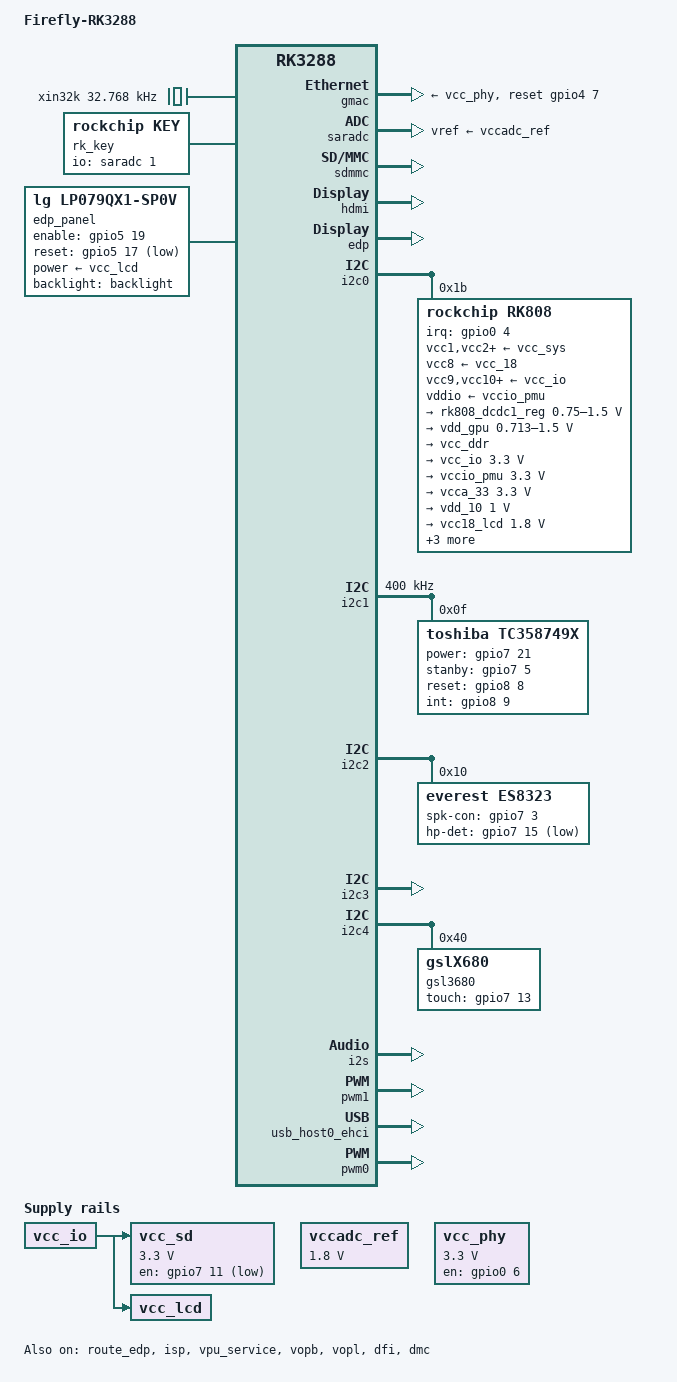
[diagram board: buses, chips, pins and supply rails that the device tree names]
/*
 * Copyright (c) 2017 Fuzhou Rockchip Electronics Co., Ltd
 *
 * This file is dual-licensed: you can use it either under the terms
 * of the GPL or the X11 license, at your option. Note that this dual
 * licensing only applies to this file, and not this project as a
 * whole.
 *
 *  a) This file is free software; you can redistribute it and/or
 *     modify it under the terms of the GNU General Public License as
 *     published by the Free Software Foundation; either version 2 of the
 *     License, or (at your option) any later version.
 *
 *     This file is distributed in the hope that it will be useful,
 *     but WITHOUT ANY WARRANTY; without even the implied warranty of
 *     MERCHANTABILITY or FITNESS FOR A PARTICULAR PURPOSE.  See the
 *     GNU General Public License for more details.
 *
 * Or, alternatively,
 *
 *  b) Permission is hereby granted, free of charge, to any person
 *     obtaining a copy of this software and associated documentation
 *     files (the "Software"), to deal in the Software without
 *     restriction, including without limitation the rights to use,
 *     copy, modify, merge, publish, distribute, sublicense, and/or
 *     sell copies of the Software, and to permit persons to whom the
 *     Software is furnished to do so, subject to the following
 *     conditions:
 *
 *     The above copyright notice and this permission notice shall be
 *     included in all copies or substantial portions of the Software.
 *
 *     THE SOFTWARE IS PROVIDED "AS IS", WITHOUT WARRANTY OF ANY KIND,
 *     EXPRESS OR IMPLIED, INCLUDING BUT NOT LIMITED TO THE WARRANTIES
 *     OF MERCHANTABILITY, FITNESS FOR A PARTICULAR PURPOSE AND
 *     NONINFRINGEMENT. IN NO EVENT SHALL THE AUTHORS OR COPYRIGHT
 *     HOLDERS BE LIABLE FOR ANY CLAIM, DAMAGES OR OTHER LIABILITY,
 *     WHETHER IN AN ACTION OF CONTRACT, TORT OR OTHERWISE, ARISING
 *     FROM, OUT OF OR IN CONNECTION WITH THE SOFTWARE OR THE USE OR
 *     OTHER DEALINGS IN THE SOFTWARE.
 */

/dts-v1/;
#include <dt-bindings/input/input.h>
#include <dt-bindings/pwm/pwm.h>
#include <dt-bindings/display/media-bus-format.h>
#include "rk3288-firefly.dtsi"
#include "rk3288-android.dtsi"

/ {
	model = "Firefly-RK3288";
	compatible = "firefly,firefly-rk3288", "rockchip,rk3288";

	chosen {
		bootargs = "earlycon=uart8250,mmio32,0xff690000";
	};

	sdio_pwrseq: sdio-pwrseq {
		clocks = <&rk808 1>;
	};

	wireless-bluetooth {
		clocks = <&rk808 1>;
		clock-names = "ext_clock";
	};

	/delete-node/ sdmmc-regulator;
	vcc_sd: sdmmc-regulator {
		compatible = "regulator-fixed";
		gpio = <&gpio7 11 GPIO_ACTIVE_LOW>;
		pinctrl-names = "default";
		pinctrl-0 = <&sdmmc_pwr>;
		regulator-name = "vcc_sd";
		regulator-min-microvolt = <3300000>;
		regulator-max-microvolt = <3300000>;
		startup-delay-us = <100000>;
		vin-supply = <&vcc_io>;
	};

	vcc_lcd: vcc-lcd {
		compatible = "regulator-fixed";
		regulator-boot-on;
		enable-active-high;
		pinctrl-names = "default";
		pinctrl-0 = <&lcd_en>;
		regulator-name = "vcc_lcd";
		vin-supply = <&vcc_io>;
	};

	sound: sound {
		status = "okay";
		compatible = "simple-audio-card";
		simple-audio-card,format = "i2s";
		simple-audio-card,name = "rockchip,firefly-codec";
		simple-audio-card,mclk-fs = <512>;
		simple-audio-card,widgets =
			"Microphone", "Microphone Jack",
			"Headphone", "Headphone Jack";
		simple-audio-card,routing =
			"MIC1", "Microphone Jack",
			"MIC2", "Microphone Jack",
			"Microphone Jack", "micbias1",
			"Headphone Jack", "HPOL",
			"Headphone Jack", "HPOR";

		simple-audio-card,dai-link@0 {
			format = "i2s";
			cpu {
				sound-dai = <&i2s>;
			};

			codec {
				sound-dai = <&es8323>;
			};
		};

		simple-audio-card,dai-link@1 {
			format = "i2s";
			cpu {
				sound-dai = <&i2s>;
			};

			codec {
				sound-dai = <&hdmi>;
			};
		};
	};

	spdif-sound {
		status = "okay";
		compatible = "simple-audio-card";
		simple-audio-card,name = "ROCKCHIP,SPDIF";
		simple-audio-card,cpu {
			sound-dai = <&spdif>;
		};
		simple-audio-card,codec {
			sound-dai = <&spdif_out>;
		};
	};

	backlight: backlight {
		pwms = <&pwm1 0 1000000 0>;
	};

	hdmi_analog_sound: hdmi-analog-sound {
		status = "disabled";
		rockchip,codec = <&es8323>, <&hdmi>;
	};

	reserved-memory {
		ramoops: ramoops@8000000 {
			compatible = "ramoops";
			reg = <0x0 0x8000000 0x0 0xF0000>;
			record-size = <0x0 0x20000>;
			console-size = <0x0 0x80000>;
			ftrace-size = <0x0 0x00000>;
			pmsg-size = <0x0 0x50000>;
		};

		drm_logo: drm-logo@00000000 {
			compatible = "rockchip,drm-logo";
			reg = <0x0 0x0 0x0 0x0>;
		};
	};

	fiq-debugger {
		compatible = "rockchip,fiq-debugger";
		interrupts = <GIC_SPI 153 IRQ_TYPE_LEVEL_HIGH>;
		rockchip,serial-id = <2>;
		rockchip,wake-irq = <0>;
		/* If enable uart uses irq instead of fiq */
		rockchip,irq-mode-enable = <1>;
		rockchip,baudrate = <115200>;  /* Only 115200 and 1500000 */
		pinctrl-names = "default";
		pinctrl-0 = <&uart2_xfer>;
	};

	xin32k: xin32k {
		compatible = "fixed-clock";
		clock-frequency = <32768>;
		clock-output-names = "xin32k";
		#clock-cells = <0>;
	};

	vccadc_ref: vccadc-ref {
		compatible = "regulator-fixed";
		regulator-name = "vcc1v8_sys";
		regulator-always-on;
		regulator-boot-on;
		regulator-min-microvolt = <1800000>;
		regulator-max-microvolt = <1800000>;
	};

	/* This turns on USB vbus for both host0 (ehci) and host1 (dwc2) */

	vcc_phy: vcc-phy-regulator {
		compatible = "regulator-fixed";
		enable-active-high;
		gpio = <&gpio0 6 GPIO_ACTIVE_HIGH>;
		pinctrl-names = "default";
		pinctrl-0 = <&eth_phy_pwr>;
		regulator-name = "vcc_phy";
		regulator-min-microvolt = <3300000>;
		regulator-max-microvolt = <3300000>;
		regulator-always-on;
		regulator-boot-on;
	};

	/*
	 * NOTE: vcc_sd isn't hooked up on v1.0 boards where power comes from
	 * vcc_io directly.  Those boards won't be able to power cycle SD cards
	 * but it shouldn't hurt to toggle this pin there anyway.
	 */

	wireless-bluetooth {
		clocks = <&hym8563>;
		clock-names = "ext_clock";
	};

	psci {
		compatible = "arm,psci-1.0";
		method = "smc";
	};

	rk_key: rockchip-key {
		compatible = "rockchip,key";
		status = "okay";

		io-channels = <&saradc 1>;

		vol-up-key {
			linux,code = <115>;
			label = "volume up";
			rockchip,adc_value = <1>;
		};

		vol-down-key {
			linux,code = <114>;
			label = "volume down";
			rockchip,adc_value = <170>;
		};

		power-key {
			gpios = <&gpio0 5 GPIO_ACTIVE_LOW>;
			linux,code = <116>;
			pinctrl-names = "default";
			pinctrl-0 = <&pwrbtn>;
			label = "power";
			gpio-key,wakeup;
		};

		menu-key {
			linux,code = <59>;
			label = "menu";
			rockchip,adc_value = <355>;
		};

		home-key {
			linux,code = <102>;
			label = "home";
			rockchip,adc_value = <746>;
		};

		back-key {
			linux,code = <158>;
			label = "back";
			rockchip,adc_value = <560>;
		};

		camera-key {
			linux,code = <212>;
			label = "camera";
			rockchip,adc_value = <450>;
		};
	};

	/delete-node/ usb-otg-regulator;

};

&ir{
	/delete-property/ pinctrl-0;
};

&gmac {
	phy-supply = <&vcc_phy>;
	snps,reset-gpio = <&gpio4 7 0>;
	pinctrl-0 = <&rgmii_pins>;
	max-speed = <100>;
	status = "okay";
};

&saradc {
	vref-supply = <&vccadc_ref>;
	status = "okay";
};

&sdmmc {
	sd-uhs-sdr12;
	sd-uhs-sdr25;
	sd-uhs-sdr50;
	sd-uhs-sdr104;
	pinctrl-0 = <&sdmmc_clk &sdmmc_cmd &sdmmc_cd &sdmmc_bus4>;
	status = "okay";
};

&hdmi {
	status = "okay";
};

&edp {
	force-hpd;
	status = "okay";
};

&edp_panel {
	compatible ="lg,lp079qx1-sp0v", "simple-panel";
	bus-format = <MEDIA_BUS_FMT_RGB666_1X18>;
	bpc = <6>;
	backlight = <&backlight>;
	enable-gpios = <&gpio5 19 GPIO_ACTIVE_HIGH>;
	reset-gpios = <&gpio5 17 GPIO_ACTIVE_LOW>;
	pinctrl-0 = <&lcd_cs>;
	power-supply = <&vcc_lcd>;
	delay,prepare = <120>;
	status = "okay";

	disp_timings: display-timings {
		native-mode = <&timing0>;

		timing0: timing0 {
			clock-frequency = <205000000>;
			hactive = <1536>;
			vactive = <2048>;
			hfront-porch = <12>;
			hsync-len = <16>;
			hback-porch = <48>;
			vfront-porch = <8>;
			vsync-len = <4>;
			vback-porch = <8>;
			hsync-active = <0>;
			vsync-active = <0>;
			de-active = <0>;
			pixelclk-active = <0>;
		};
	};
};

&route_edp {
	status = "okay";
};

&i2c0{
	/delete-node/ syr828@41;
	/delete-node/ act8846@5a;
};

&i2c0 {
	rk808: pmic@1b {
		compatible = "rockchip,rk808";
		reg = <0x1b>;
		interrupt-parent = <&gpio0>;
		interrupts = <4 IRQ_TYPE_LEVEL_LOW>;
		pinctrl-names = "default";
		pinctrl-0 = <&pmic_int &global_pwroff>;
		//pinctrl-0 = <&pmic_vsel>, <&pwr_hold>;
		rockchip,system-power-controller;
		wakeup-source;
		#clock-cells = <1>;
		clock-output-names = "rk808-clkout1", "rk808-clkout2";
		vcc1-supply = <&vcc_sys>;
		vcc2-supply = <&vcc_sys>;
		vcc3-supply = <&vcc_sys>;
		vcc4-supply = <&vcc_sys>;
		vcc6-supply = <&vcc_sys>;
		vcc7-supply = <&vcc_sys>;
		vcc8-supply = <&vcc_18>;
		vcc9-supply = <&vcc_io>;
		vcc10-supply = <&vcc_io>;
		vcc11-supply = <&vcc_sys>;
		vcc12-supply = <&vcc_io>;
		vddio-supply = <&vccio_pmu>;

		regulators {
			rk808_dcdc1_reg: DCDC_REG1 {
				regulator-always-on;
				regulator-boot-on;
				regulator-min-microvolt = <750000>;
				regulator-max-microvolt = <1500000>;
				regulator-name = "vdd_arm";
				regulator-state-mem {
					regulator-on-in-suspend;
					regulator-suspend-microvolt = <1000000>;
				};
			};

			vdd_gpu: DCDC_REG2 {
				regulator-always-on;
				regulator-boot-on;
				regulator-min-microvolt = <712500>;
				regulator-max-microvolt = <1500000>;
				regulator-name = "vdd_gpu";
				regulator-ramp-delay = <6000>;
				regulator-state-mem {
					regulator-on-in-suspend;
					regulator-suspend-microvolt = <1000000>;
				};
			};

			vcc_ddr: DCDC_REG3 {
				regulator-always-on;
				regulator-boot-on;
				regulator-name = "vcc_ddr";
				regulator-state-mem {
					regulator-on-in-suspend;
				};
			};

			vcc_io: DCDC_REG4 {
				regulator-always-on;
				regulator-boot-on;
				regulator-min-microvolt = <3300000>;
				regulator-max-microvolt = <3300000>;
				regulator-name = "vcc_io";
				regulator-state-mem {
					regulator-on-in-suspend;
					regulator-suspend-microvolt = <3300000>;
				};
			};

			vccio_pmu: LDO_REG1 {
				regulator-always-on;
				regulator-boot-on;
				regulator-min-microvolt = <3300000>;
				regulator-max-microvolt = <3300000>;
				regulator-name = "vccio_pmu";
				regulator-state-mem {
					regulator-on-in-suspend;
					regulator-suspend-microvolt = <3300000>;
				};
			};

			vcca_33: LDO_REG2 {
				regulator-always-on;
				regulator-boot-on;
				regulator-min-microvolt = <3300000>;
				regulator-max-microvolt = <3300000>;
				regulator-name = "vcca_33";
				regulator-state-mem {
					regulator-off-in-suspend;
				};
			};

			vdd_10: LDO_REG3 {
				regulator-always-on;
				regulator-boot-on;
				regulator-min-microvolt = <1000000>;
				regulator-max-microvolt = <1000000>;
				regulator-name = "vdd_10";
				regulator-state-mem {
					regulator-on-in-suspend;
					regulator-suspend-microvolt = <1000000>;
				};
			};

			vcc18_lcd: LDO_REG4 {
				regulator-always-on;
				regulator-boot-on;
				regulator-min-microvolt = <1800000>;
				regulator-max-microvolt = <1800000>;
				regulator-name = "vcc18_lcd";
				regulator-state-mem {
					regulator-on-in-suspend;
					regulator-suspend-microvolt = <1800000>;
				};
			};

			vccio_sd: LDO_REG5 {
				regulator-always-on;
				regulator-boot-on;
				regulator-min-microvolt = <3300000>;
				regulator-max-microvolt = <3300000>;
				regulator-name = "vccio_sd";
				regulator-state-mem {
					regulator-on-in-suspend;
					regulator-suspend-microvolt = <3300000>;
				};
			};

			vdd10_lcd: LDO_REG6 {
				regulator-always-on;
				regulator-boot-on;
				regulator-min-microvolt = <1000000>;
				regulator-max-microvolt = <1000000>;
				regulator-name = "vdd10_lcd";
				regulator-state-mem {
					regulator-on-in-suspend;
					regulator-suspend-microvolt = <1000000>;
				};
			};

			vcc_18: LDO_REG7 {
				regulator-always-on;
				regulator-boot-on;
				regulator-min-microvolt = <1800000>;
				regulator-max-microvolt = <1800000>;
				regulator-name = "vcc_18";
				regulator-state-mem {
					regulator-on-in-suspend;
					regulator-suspend-microvolt = <1800000>;
				};
			};

			vcc_lan: LDO_REG8 {
				regulator-always-on;
				regulator-boot-on;
				regulator-min-microvolt = <1800000>;
				regulator-max-microvolt = <1800000>;
				regulator-name = "vcc_lan";
				regulator-state-mem {
					regulator-on-in-suspend;
					regulator-suspend-microvolt = <1800000>;
				};
			};

			vccio_wl: SWITCH_REG1 {
				regulator-always-on;
				regulator-boot-on;
				regulator-name = "vcc_18";
				regulator-state-mem {
					regulator-on-in-suspend;
				};
			};

			rk808_ldo10_reg: SWITCH_REG2 {
				regulator-always-on;
				regulator-boot-on;
				regulator-name = "rk_ldo10";
				regulator-state-mem {
					regulator-on-in-suspend;
				};
			};
		};
	};
};

&i2c1 {
	status = "okay";
	clock-frequency = <400000>;

	tc358749x: tc358749x@0f {
		compatible = "toshiba,tc358749x";
		reg = <0x0f>;
		power-gpios = <&gpio7 21 GPIO_ACTIVE_HIGH>;
		stanby-gpios = <&gpio7 5 GPIO_ACTIVE_HIGH>;
		reset-gpios = <&gpio8 8 GPIO_ACTIVE_HIGH>;
		int-gpios = <&gpio8 9 GPIO_ACTIVE_HIGH>;
		pinctrl-names = "default";
		pinctrl-0 = <&hdmiin_gpios>;
		status = "okay";
	};
};

&i2c2 {
	status = "okay";

	es8323: es8323@10 {
		status = "okay";
		compatible = "everest,es8323";
		reg = <0x10>;
		spk-con-gpio = <&gpio7 3 GPIO_ACTIVE_HIGH>;
		hp-det-gpio = <&gpio7 15 GPIO_ACTIVE_LOW>;
		clock-names = "mclk";
		clocks = <&cru SCLK_I2S0_OUT>;
		pinctrl-names = "default";
		pinctrl-0 = <&i2s0_mclk>;
		#sound-dai-cells = <0>;
	};
};

&i2c3 {
	status = "okay";
};

&i2c4 {
	status = "okay";

	gsl3680: gsl3680@40 {
		status = "okay";
		compatible = "gslX680";
		reg = <0x40>;
		screen_max_x = <1536>;
		screen_max_y = <2048>;
		flip-x = <1>;
		flip-y = <1>;
		touch-gpio = <&gpio7 13 IRQ_TYPE_EDGE_RISING>;
	};
};

&i2s {
	#sound-dai-cells = <0>;
	status = "okay";
};

&pwm1 {
	status = "okay";
};

&isp {
	/delete-property/ rockchip,gpios;
	status = "okay";
};

&isp_mmu {
	status = "okay";
};

&vpu_service {
	status = "okay";
};

&usb_host0_ehci {
	rockchip-relinquish-port;
	status = "okay";
};

&vopb {
	status = "okay";
};

&vopl {
	status = "okay";
};

&cpu0 {
	enable-method = "psci";
};

&cpu1 {
	enable-method = "psci";
};

&cpu2 {
	enable-method = "psci";
};

&cpu3 {
	enable-method = "psci";
};

&dfi {
	status = "okay";
};

&dmac_bus_s {
	/* change to non-secure dmac */
	reg = <0x0 0xff600000 0x0 0x4000>;
};

&dmc {
	center-supply = <&vdd_gpu>;
	status = "okay";
};

&efuse {
	compatible = "rockchip,rk3288-secure-efuse";
};

&rga {
	compatible = "rockchip,rga2";
	clocks = <&cru ACLK_RGA>, <&cru HCLK_RGA>, <&cru SCLK_RGA>;
	clock-names = "aclk_rga", "hclk_rga", "clk_rga";
};

&rockchip_suspend {
	status = "okay";
};

&pwm0 {
	status = "okay";
	interrupts = <GIC_SPI 78 IRQ_TYPE_LEVEL_HIGH>;
	compatible = "rockchip,remotectl-pwm";
	remote_pwm_id = <0>;
	handle_cpu_id = <0>;

	ir_key1{
		rockchip,usercode = <0xff00>;
		rockchip,key_table =
			<0xeb   KEY_POWER>,
			<0xec   KEY_MENU>,
			<0xfe   KEY_BACK>,
			<0xb7   KEY_HOME>,
			<0xa3   KEY_WWW>,
			<0xf4   KEY_VOLUMEUP>,
			<0xa7   KEY_VOLUMEDOWN>,
			<0xf8   KEY_REPLY>,
			<0xfc   KEY_UP>,
			<0xfd   KEY_DOWN>,
			<0xf1   KEY_LEFT>,
			<0xe5   KEY_RIGHT>;
	};
};

&tsadc {
	rockchip,hw-tshut-polarity = <1>; /* tshut polarity 0:LOW 1:HIGH */
};

&pinctrl {

	/* sata:gpio0 c1  */
	init-gpios = <&gpio0 17 GPIO_ACTIVE_LOW>;

	pcfg_output_high: pcfg-output-high {
		output-high;
	};

	pcfg_output_low: pcfg-output-low {
		output-low;
	};

	pmic {
		pmic_int: pmic-int {
			rockchip,pins = <0 RK_PA4 RK_FUNC_GPIO &pcfg_pull_up>;
		};
	};

	eth_phy {
		eth_phy_pwr: eth-phy-pwr {
			rockchip,pins = <0 RK_PA6 RK_FUNC_GPIO &pcfg_pull_none>;
		};
	};

	lcd {
		lcd_cs: lcd-cs {
			rockchip,pins = <7 RK_PA4 RK_FUNC_GPIO &pcfg_pull_none>;
		};

		lcd_en: lcd-en  {
			rockchip,pins = <7 RK_PA3 RK_FUNC_GPIO &pcfg_pull_none>;
		};
	};

	act8846 {
		pmic_vsel: pmic-vsel {
			rockchip,pins = <7 RK_PB6 RK_FUNC_GPIO &pcfg_output_low>;
		};

		pwr_hold: pwr-hold {
			rockchip,pins = <0 RK_PA1 RK_FUNC_GPIO &pcfg_output_high>;
		};
	};

	backlight {
		bl_en: bl-en {
			rockchip,pins = <7 RK_PA2 RK_FUNC_GPIO &pcfg_pull_none>;
		};
	};

	buttons {
		pwrbtn: pwrbtn {
			rockchip,pins = <0 RK_PA5 RK_FUNC_GPIO &pcfg_pull_up>;
		};
	};

	hdmiin {
		hdmiin_gpios: hdmiin_gpios {
			rockchip,pins =
				<7 RK_PA5 RK_FUNC_GPIO &pcfg_pull_none>,
				<7 RK_PC5 RK_FUNC_GPIO &pcfg_pull_none>,
				<8 RK_PB0 RK_FUNC_GPIO &pcfg_pull_none>,
				<8 RK_PB1 RK_FUNC_GPIO &pcfg_pull_none>;
		};
	};
};
